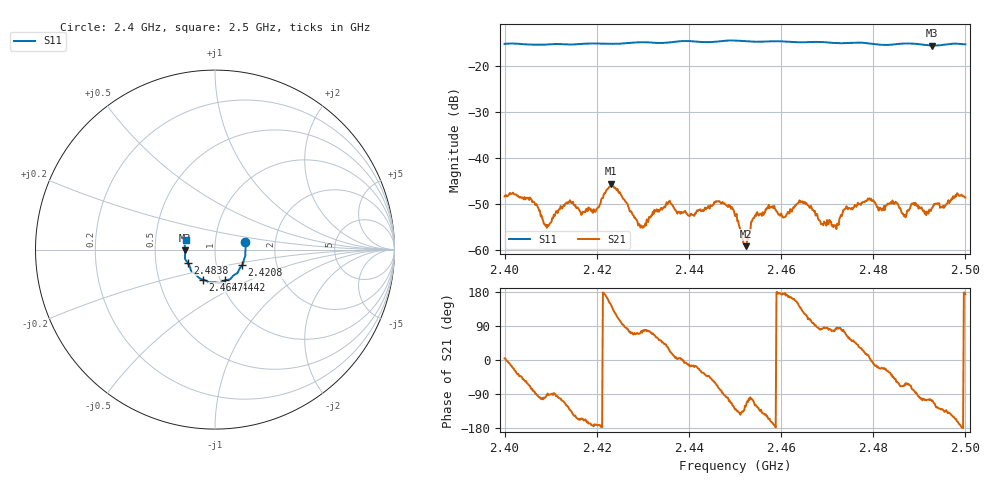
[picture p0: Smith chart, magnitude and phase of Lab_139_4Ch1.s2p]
# Hz S RI R 50
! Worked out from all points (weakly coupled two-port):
!   601 points, 2.4 GHz to 2.5 GHz, reference 50 ohm
!   highest |S21| = -45.60 dB at 2.4232 GHz (marker M1); lowest = -59.1 dB at 2.4523 GHz (marker M2)
!   lowest |S11| = -15.6 dB at 2.4928 GHz (marker M3), VSWR 1.40, Z = 35.8 - j0.354 ohm
!   |S11| at or under -10 dB: start of sweep to end of sweep
!   S12 and S22 are empty: the file has one direction only
!   S11 on the Smith chart (normalised r, x): 2.4 GHz: 1.40, +0.12; 2.4208 GHz: 1.33, -0.24; 2.4442 GHz: 1.05, -0.37; 2.4647 GHz: 0.83, -0.29; 2.4838 GHz: 0.73, -0.11; 2.5 GHz: 0.72, +0.08
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2.4e9  0.1681 0.0408  0.00382 0.000277  0 0  0 0
2.406e9  0.1699 -0.000349  0.000778 -0.00323  0 0  0 0
2.409e9  0.1683 -0.0228  -0.00019 -0.00187  0 0  0 0
2.413833e9  0.1634 -0.0492  -0.00185 -0.00279  0 0  0 0
2.416667e9  0.1589 -0.068  -0.00217 -0.00106  0 0  0 0
2.420833e9  0.1508 -0.0874  -0.00324 -0.000277  0 0  0 0
2.423167e9  0.1429 -0.0978  -0.00421 0.00313  0 0  0 0
2.4295e9  0.126 -0.1291  0.000532 0.00167  0 0  0 0
2.433333e9  0.108 -0.1401  0.00154 0.00228  0 0  0 0
2.444167e9  0.0568 -0.1712  0.00224 -0.00201  0 0  0 0
2.45e9  0.0245 -0.1864  -0.00153 -0.00179  0 0  0 0
2.452333e9  0.0136 -0.1842  -0.000592 -0.000934  0 0  0 0
2.4545e9  -0.00305 -0.1822  -0.00112 -0.00205  0 0  0 0
2.464667e9  -0.0673 -0.1668  -0.00212 0.00264  0 0  0 0
2.466667e9  -0.0802 -0.1625  -0.000482 0.00279  0 0  0 0
2.4715e9  -0.0994 -0.1465  0.000468 0.00181  0 0  0 0
2.474e9  -0.1153 -0.1338  0.00102 0.00263  0 0  0 0
2.483333e9  -0.1506 -0.0763  0.00267 -0.00167  0 0  0 0
2.483833e9  -0.1532 -0.0721  0.0026 -0.00207  0 0  0 0
2.486667e9  -0.166 -0.0535  0.000928 -0.00214  0 0  0 0
2.492833e9  -0.1656 -0.00481  -0.000834 -0.00277  0 0  0 0
2.5e9  -0.1625 0.0529  -0.00371 0.0004  0 0  0 0
